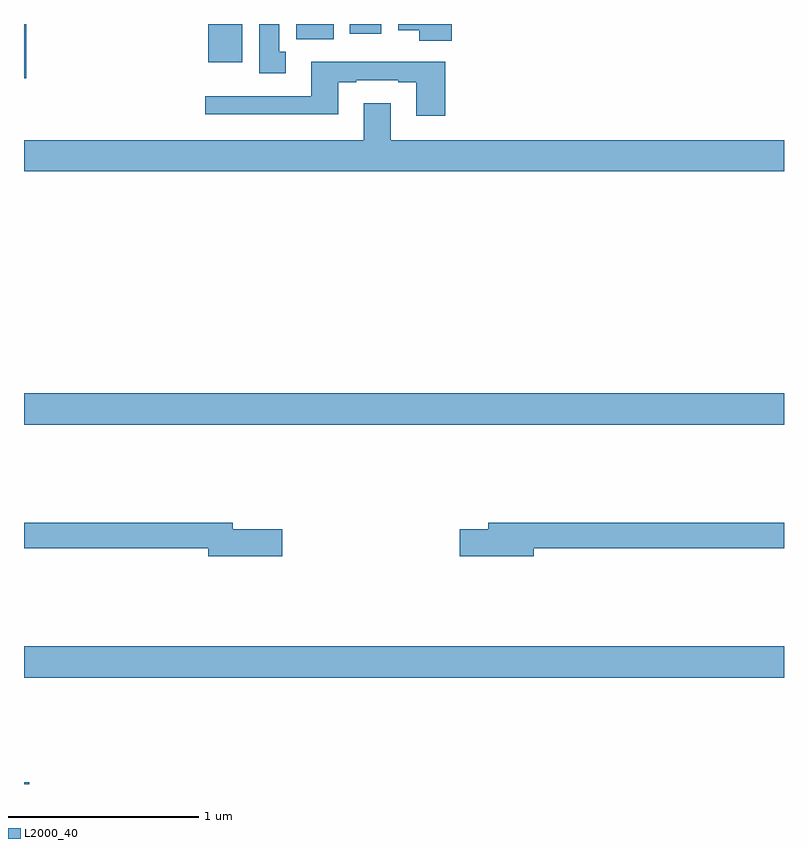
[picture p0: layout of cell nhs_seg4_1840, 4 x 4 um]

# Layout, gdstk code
import gdstk
lib = gdstk.Library(unit=1e-6, precision=1e-09)
def R(c, l, rs):  # rectangles x0, y0, x1, y1
    for r in rs: c.add(gdstk.rectangle(r[:2], r[2:], *l))
def P(c, l, *ps):  # polygons
    for p in ps: c.add(gdstk.Polygon(p, *l))
L2000_40 = (2000, 40)

nhs_seg4_1840 = lib.new_cell('nhs_seg4_1840')
R(nhs_seg4_1840, L2000_40, [(205,822.9,205.027,822.908), (205,823.46,209,823.624), (205,824.792,209,824.956), (205,826.614,205.013,826.9), (205.97,826.7,206.149,826.9), (206.432,826.82,206.629,826.9), (206.714,826.848,206.881,826.9)])
P(nhs_seg4_1840, L2000_40, [(206.377,826.754),(206.344,826.754),(206.344,826.9),(206.237,826.9),(206.237,826.641),(206.377,826.641)],
  [(207.251,826.9),(206.969,826.9),(206.969,826.868),(207.08,826.868),(207.08,826.811),(207.251,826.811)],
  [(207.218,826.702),(206.513,826.702),(206.513,826.521),(205.953,826.521),(205.953,826.424),(206.653,826.424),(206.653,826.593),(206.749,826.593),(206.749,826.605),(206.969,826.605),(206.969,826.593),(207.065,826.593),(207.065,826.416),(207.218,826.416)],
  [(209,826.288),(206.929,826.288),(206.929,826.483),(206.789,826.483),(206.789,826.288),(205,826.288),(205,826.124),(209,826.124)],
  [(207.682,824.14),(209,824.14),(209,824.276),(207.443,824.276),(207.443,824.24),(207.294,824.24),(207.294,824.098),(207.682,824.098)],
  [(206.359,824.24),(206.098,824.24),(206.098,824.276),(205,824.276),(205,824.14),(205.97,824.14),(205.97,824.098),(206.359,824.098)])

lib.write_gds('nhs_seg4_1840.gds')
